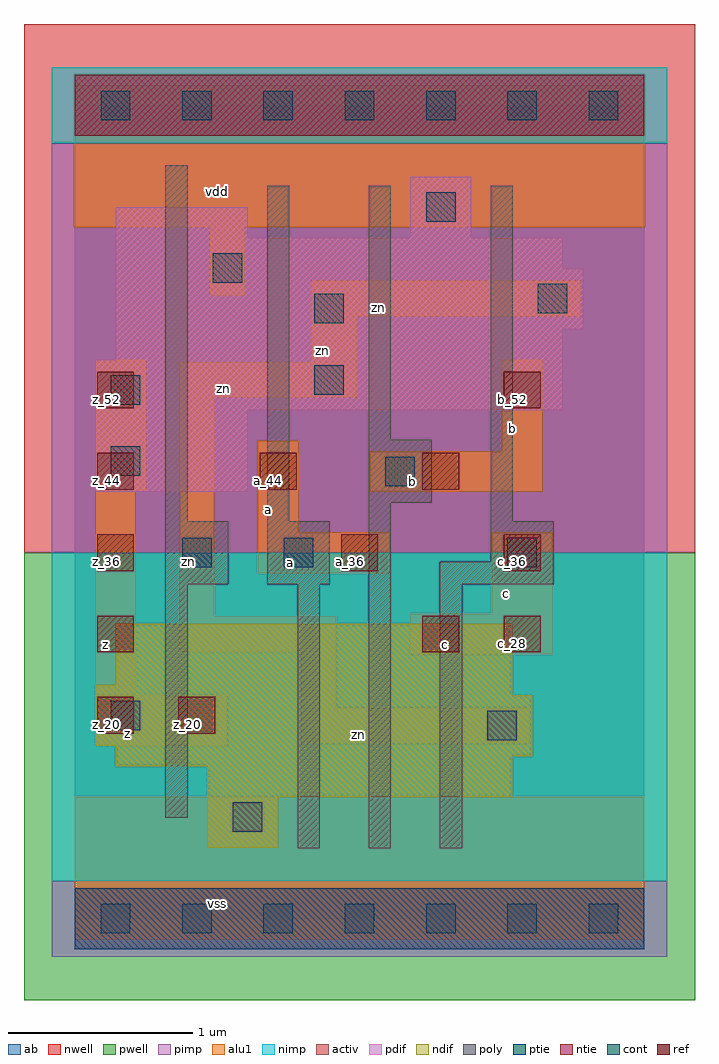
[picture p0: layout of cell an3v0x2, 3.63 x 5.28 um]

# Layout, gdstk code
import gdstk
lib = gdstk.Library(unit=1e-6, precision=2.5e-09)
def R(c, l, rs):  # rectangles x0, y0, x1, y1
    for r in rs: c.add(gdstk.rectangle(r[:2], r[2:], *l))
def A(c, l, x, y, w, h, nx, ny, dx, dy):  # array of equal rectangles
    R(c, l, [(x+i*dx, y+j*dy, x+i*dx+w, y+j*dy+h) for i in range(nx) for j in range(ny)])
ndif = (3, 0)
pdif = (4, 0)
ntie = (5, 0)
ptie = (6, 0)
ref = (24, 0)
cont = (25, 0)
pwell = (41, 0)
nwell = (42, 0)
activ = (43, 0)
pimp = (44, 0)
nimp = (45, 0)
poly = (46, 0)
alu1 = (49, 0)
ab = (63, 0)

an3v0x2 = lib.new_cell('an3v0x2')
R(an3v0x2, ndif, [(0.715,0.385,1.1,0.66), (0.715,0.66,2.365,0.825), (0.22,0.825,2.365,0.88), (0.22,0.88,2.475,0.935), (0.11,0.935,2.475,1.21), (0.11,1.21,2.365,1.265), (0.22,1.265,2.365,1.595)])
R(an3v0x2, pdif, [(0.11,2.31,0.935,2.75), (0.11,2.75,2.64,3.025), (0.22,3.025,2.64,3.19), (0.22,3.19,2.75,3.52), (0.22,3.52,2.64,3.685), (0.22,3.685,0.935,3.85), (1.815,3.685,2.145,4.015)])
R(an3v0x2, ntie, [(0,4.235,3.08,4.565)])
R(an3v0x2, ptie, [(0,-0.165,3.08,0.165)])
A(an3v0x2, ref, 0.12, 1, 0.2, 0.2, 1, 3, 0, 0.44)
A(an3v0x2, ref, 0.12, 2.32, 0.2, 0.2, 3, 1, 0.88, 0)
R(an3v0x2, ref, [(0.56,1,0.76,1.2), (1.88,1.44,2.08,1.64), (2.32,1.44,2.52,1.64), (1.44,1.88,1.64,2.08), (2.32,1.88,2.52,2.08), (0.12,2.76,0.32,2.96), (2.32,2.76,2.52,2.96)])
A(an3v0x2, cont, 0.14, -0.08, 0.16, 0.16, 7, 2, 0.44, 4.4)
R(an3v0x2, cont, [(0.855,0.47,1.015,0.63), (2.23,0.965,2.39,1.125), (0.195,1.02,0.355,1.18), (0.58,1.9,0.74,2.06), (1.13,1.9,1.29,2.06), (2.34,1.9,2.5,2.06), (1.68,2.34,1.84,2.5), (0.195,2.395,0.355,2.555), (0.195,2.78,0.355,2.94), (1.295,2.835,1.455,2.995), (1.295,3.22,1.455,3.38), (2.505,3.275,2.665,3.435), (0.745,3.44,0.905,3.6), (1.9,3.77,2.06,3.93)])
R(an3v0x2, pwell, [(-0.275,-0.44,3.355,1.98)])
R(an3v0x2, nwell, [(-0.275,1.98,3.355,4.84)])
R(an3v0x2, activ, [(0,-0.165,3.08,0.165), (0.715,0.385,1.1,0.66), (0.715,0.66,2.365,0.825), (0.22,0.825,2.365,0.88), (0.22,0.88,2.475,0.935), (0.11,0.935,2.475,1.21), (0.11,1.21,2.365,1.265), (0.22,1.265,2.365,1.595), (0.11,2.31,0.935,2.75), (0.11,2.75,2.64,3.025), (0.22,3.025,2.64,3.19), (0.22,3.19,2.75,3.52), (0.22,3.52,2.64,3.685), (0.22,3.685,0.935,3.85), (1.815,3.685,2.145,4.015), (0,4.235,3.08,4.565)])
R(an3v0x2, pimp, [(-0.125,-0.205,3.205,0.205), (-0.125,1.98,3.205,4.195)])
R(an3v0x2, nimp, [(-0.125,0.205,3.205,1.98), (-0.125,4.195,3.205,4.605)])
R(an3v0x2, poly, [(1.205,0.38,1.325,1.81), (1.59,0.38,1.71,2.25), (1.975,0.38,2.095,1.81), (0.49,0.545,0.61,1.81), (0.49,1.81,0.83,2.15), (1.04,1.81,1.38,2.15), (1.975,1.81,2.59,1.93), (2.25,1.93,2.59,2.15), (0.49,2.15,0.61,4.075), (1.04,2.15,1.16,3.965), (2.25,2.15,2.37,3.965), (1.59,2.25,1.93,2.59), (1.59,2.59,1.71,3.965)])
R(an3v0x2, alu1, [(0,-0.11,3.08,0.66), (0.11,0.935,0.825,1.21), (1.225,0.95,2.46,1.14), (1.225,1.14,1.415,1.445), (0.11,1.21,0.33,2.31), (1.815,1.43,2.585,1.65), (0.565,1.445,1.415,1.635), (0.565,1.635,0.755,2.82), (2.255,1.65,2.585,2.09), (0.99,1.87,1.705,2.09), (0.99,2.09,1.21,2.585), (0.11,2.31,0.385,3.025), (1.595,2.31,2.53,2.53), (2.31,2.53,2.53,3.025), (0.565,2.82,1.525,3.01), (1.28,3.01,1.525,3.26), (1.28,3.26,2.735,3.45), (0.73,3.37,0.92,3.74), (0,3.74,3.08,4.51)])
R(an3v0x2, ab, [(0,0,3.08,4.4)])
an3v0x2.add(gdstk.Label('vss', (0.77,0.0825), layer=49, texttype=0))
an3v0x2.add(gdstk.Label('zn', (1.5325,0.9975), layer=49, texttype=0))
an3v0x2.add(gdstk.Label('c', (2.0075,1.485), layer=49, texttype=0))
an3v0x2.add(gdstk.Label('z', (0.2875,1.0025), layer=49, texttype=0))
an3v0x2.add(gdstk.Label('c', (2.3375,1.76), layer=49, texttype=0))
an3v0x2.add(gdstk.Label('a', (1.1675,1.925), layer=49, texttype=0))
an3v0x2.add(gdstk.Label('b', (1.8275,2.365), layer=49, texttype=0))
an3v0x2.add(gdstk.Label('b', (2.365,2.6525), layer=49, texttype=0))
an3v0x2.add(gdstk.Label('a', (1.045,2.2125), layer=49, texttype=0))
an3v0x2.add(gdstk.Label('zn', (0.6125,1.93), layer=49, texttype=0))
an3v0x2.add(gdstk.Label('z', (0.165,1.485), layer=49, texttype=0))
an3v0x2.add(gdstk.Label('zn', (0.805,2.8675), layer=49, texttype=0))
an3v0x2.add(gdstk.Label('zn', (1.34,3.0725), layer=49, texttype=0))
an3v0x2.add(gdstk.Label('zn', (1.6425,3.3075), layer=49, texttype=0))
an3v0x2.add(gdstk.Label('vdd', (0.77,3.9325), layer=49, texttype=0))
an3v0x2.add(gdstk.Label('z_20', (0.61,1.05), layer=24, texttype=0))
an3v0x2.add(gdstk.Label('a_44', (1.05,2.37), layer=24, texttype=0))
an3v0x2.add(gdstk.Label('a_36', (1.49,1.93), layer=24, texttype=0))
an3v0x2.add(gdstk.Label('c_28', (1.93,1.49), layer=24, texttype=0))
an3v0x2.add(gdstk.Label('b_44', (1.93,2.37), layer=24, texttype=0))
an3v0x2.add(gdstk.Label('z_20', (0.17,1.05), layer=24, texttype=0))
an3v0x2.add(gdstk.Label('z_28', (0.17,1.49), layer=24, texttype=0))
an3v0x2.add(gdstk.Label('z_36', (0.17,1.93), layer=24, texttype=0))
an3v0x2.add(gdstk.Label('z_44', (0.17,2.37), layer=24, texttype=0))
an3v0x2.add(gdstk.Label('z_52', (0.17,2.81), layer=24, texttype=0))
an3v0x2.add(gdstk.Label('c_28', (2.37,1.49), layer=24, texttype=0))
an3v0x2.add(gdstk.Label('c_36', (2.37,1.93), layer=24, texttype=0))
an3v0x2.add(gdstk.Label('b_52', (2.37,2.81), layer=24, texttype=0))

lib.write_gds('an3v0x2.gds')
